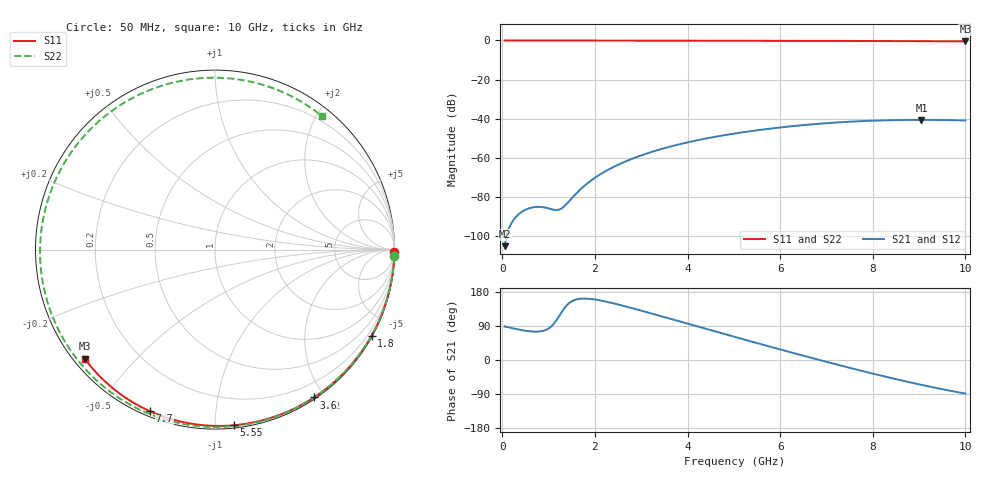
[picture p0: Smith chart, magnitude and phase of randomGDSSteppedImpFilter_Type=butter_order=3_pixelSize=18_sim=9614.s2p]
! freq	dB(S11)	phase(S11)	dB(S12)	phase(S12)
!  dB(S21)	phase(S21)	dB(S22)	phase(S22)
!S-par simulation data
#  GHz  S  DB  R 50
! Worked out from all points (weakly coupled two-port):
!   200 points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, 50 MHz to 10 GHz, reference 50 ohm
!   highest |S21| = -40.55 dB at 9.05 GHz (marker M1); lowest = -105.0 dB at 50 MHz (marker M2)
!   lowest |S11| = -0.5 dB at 10 GHz (marker M3), VSWR 36.65, Z = 1.54 - j18.1 ohm
!   |S11| at or under -10 dB: nowhere
!   |S22| runs from -0.4 to 0.0 dB; largest |S21 - S12| = 0
!   S11 on the Smith chart (normalised r, x): 50 MHz: open; 1.8 GHz: 0.03, -3.90; 3.6 GHz: 0.02, -1.87; 5.55 GHz: 0.02, -1.11; 7.7 GHz: 0.02, -0.68; 10 GHz: 0.03, -0.36
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0.05  -0.00 -0.8  -104.98 88.6  -104.98 88.6  -0.00 -2.2
0.35  -0.01 -5.7  -88.74 80.5  -88.74 80.5  -0.02 -14.9
0.7  -0.01 -11.3  -85.02 74.9  -85.02 74.9  -0.04 -29.5
1.1  -0.02 -17.7  -86.34 93.7  -86.34 93.7  -0.06 -45.7
1.5  -0.03 -24.1  -80.55 154.9  -80.55 154.9  -0.07 -61.3
1.75  -0.04 -28.0  -74.67 162.1  -74.67 162.1  -0.08 -70.7
1.8  -0.04 -28.8  -73.66 162.1  -73.66 162.1  -0.08 -72.5
2.1  -0.04 -33.5  -68.55 157.5  -68.55 157.5  -0.09 -83.3
2.45  -0.05 -38.9  -64.00 148.0  -64.00 148.0  -0.10 -95.3
2.9  -0.06 -45.7  -59.50 133.6  -59.50 133.6  -0.12 -109.8
3.4  -0.07 -53.2  -55.63 116.7  -55.63 116.7  -0.14 -125.1
3.6  -0.08 -56.2  -54.32 109.8  -54.32 109.8  -0.15 -130.9
4.3  -0.09 -66.4  -50.49 85.6  -50.49 85.6  -0.17 -150.5
5.05  -0.12 -76.9  -47.36 59.9  -47.36 59.9  -0.20 -170.4
5.55  -0.14 -83.8  -45.68 42.9  -45.68 42.9  -0.23 176.7
6.1  -0.16 -91.2  -44.14 24.5  -44.14 24.5  -0.26 162.5
6.7  -0.19 -99.1  -42.77 4.8  -42.77 4.8  -0.29 147.0
7.7  -0.26 -111.8  -41.23 -26.8  -41.23 -26.8  -0.34 120.2
8.35  -0.31 -119.9  -40.72 -46.2  -40.72 -46.2  -0.36 101.8
9.05  -0.37 -128.5  -40.55 -65.6  -40.55 -65.6  -0.38 81.0
9.5  -0.42 -133.9  -40.61 -77.0  -40.61 -77.0  -0.40 67.2
10  -0.47 -140.1  -40.82 -88.7  -40.82 -88.7  -0.42 51.4
